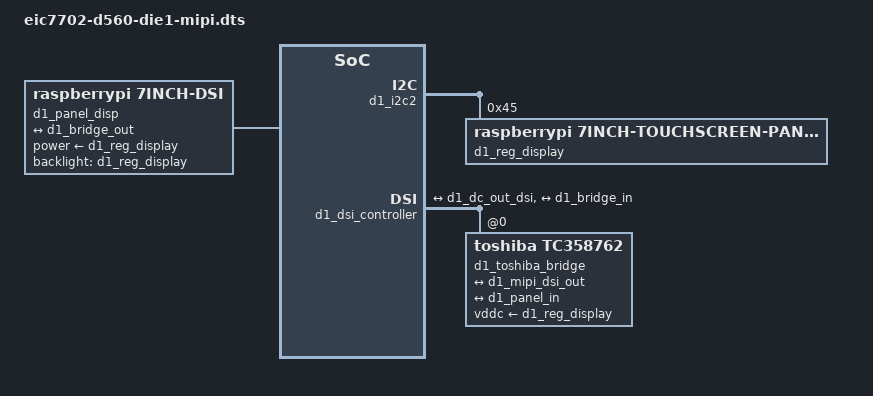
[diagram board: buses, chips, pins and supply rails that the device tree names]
/dts-v1/;
/plugin/;

#include <dt-bindings/gpio/gpio.h>
/ {
	fragment@0 {
		target =  <&d1_dc_out>;
		__overlay__ {
			d1_dc_out_dsi: endpoint@0 {
				reg = <0>;
				remote-endpoint = <&d1_dsi_input>;
			};
		};
	};

	fragment@1 {
		target =  <&d1_video_output>;
		__overlay__ {
			power-supply = <&d1_reg_display>;
		};
	};

	fragment@2 {
		target =  <&SOC>;
		__overlay__ {
			d1_panel_disp:d1_panel_disp {
				compatible = "raspberrypi,7inch-dsi";
				status = "okay";
				backlight = <&d1_reg_display>;
				power-supply = <&d1_reg_display>;
				port {
					d1_panel_in: endpoint {
						remote-endpoint = <&d1_bridge_out>;
					};
				};
			};
		};
	};

	fragment@3 {
		target =  <&d1_i2c2>;
		__overlay__ {
			status = "okay";
			d1_reg_display: regulator@45 {
				compatible = "raspberrypi,7inch-touchscreen-panel-regulator";
				reg = <0x45>;
				gpio-controller;
				#gpio-cells = <2>;
			};
		};
	};

    fragment@4 {
		target =  <&d1_dsi_controller>;
		__overlay__ {
			status = "okay";
			dependencies = <&d1_panel_disp>;
			dsi-power-gpio = <&d1_portc 7 GPIO_ACTIVE_HIGH>;
			dsi-led-gpio = <&d1_portc 13 GPIO_ACTIVE_HIGH>;
			ports {
				#address-cells = <1>;
				#size-cells = <0>;
				port@0 {
					#address-cells = <1>;
					#size-cells = <0>;
					reg = <0>;
					d1_dsi_input: endpoint {
						remote-endpoint = <&d1_dc_out_dsi>;
					};
				};

				port@1 {
					#address-cells = <1>;
					#size-cells = <0>;
					reg = <1>;

					d1_mipi_dsi_out: endpoint {
						remote-endpoint = <&d1_bridge_in>;
					};
				};
			};

			d1_toshiba_bridge: bridge@0 {
				reg = <0>;
				compatible = "toshiba,tc358762";
				status = "okay";
				vddc-supply = <&d1_reg_display>;
				ports {
					#address-cells = <1>;
					#size-cells = <0>;

					port@0 {
						reg = <0>;
						d1_bridge_in: endpoint {
							remote-endpoint = <&d1_mipi_dsi_out>;
						};
					};

					port@1 {
						reg = <1>;
						d1_bridge_out: endpoint {
							remote-endpoint = <&d1_panel_in>;
						};
					};
				};
			};
		};
	};
};
